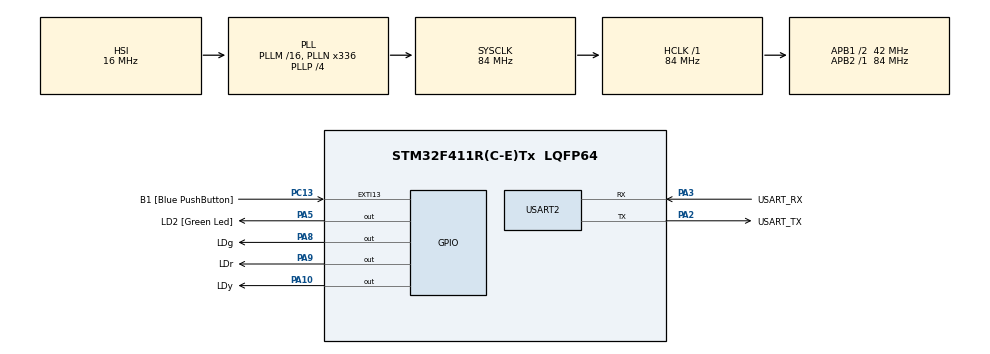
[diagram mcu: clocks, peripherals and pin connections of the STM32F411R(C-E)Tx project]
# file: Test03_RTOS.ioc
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FREERTOS.BinarySemaphores01=myBinarySem01,Dynamic,NULL
FREERTOS.Tasks01=myTask01,-1,128,StartTask01,Default,NULL,Dynamic,NULL,NULL;myTask02,-2,128,StartTask02,Default,NULL,Dynamic,NULL,NULL;myTask03,-3,128,StartTask03,Default,NULL,Dynamic,NULL,NULL
FREERTOS.configUSE_NEWLIB_REENTRANT=1
Mcu.Family=STM32F4
Mcu.Name=STM32F411R(C-E)Tx
Mcu.Package=LQFP64
NVIC.EXTI15_10_IRQn=true\:5\:0\:false\:false\:true\:true\:true\:true\:true
NVIC.PriorityGroup=NVIC_PRIORITYGROUP_4
NVIC.TIM1_TRG_COM_TIM11_IRQn=true\:15\:0\:false\:false\:true\:false\:false\:true\:true
NVIC.TimeBase=TIM1_TRG_COM_TIM11_IRQn
NVIC.TimeBaseIP=TIM11
PA10.GPIO_Label=LDy
PA10.Signal=GPIO_Output
PA13.GPIO_Label=TMS
PA13.Mode=Serial_Wire
PA13.Signal=SYS_JTMS-SWDIO
PA14.GPIO_Label=TCK
PA14.Mode=Serial_Wire
PA14.Signal=SYS_JTCK-SWCLK
PA2.GPIO_Label=USART_TX
PA2.Mode=Asynchronous
PA2.Signal=USART2_TX
PA3.GPIO_Label=USART_RX
PA3.Mode=Asynchronous
PA3.Signal=USART2_RX
PA5.GPIO_Label=LD2 [Green Led]
PA5.Signal=GPIO_Output
PA8.GPIO_Label=LDg
PA8.Signal=GPIO_Output
PA9.GPIO_Label=LDr
PA9.Signal=GPIO_Output
PB3.GPIO_Label=SWO
PB3.Signal=SYS_JTDO-SWO
PC13-ANTI_TAMP.GPIO_Label=B1 [Blue PushButton]
PC13-ANTI_TAMP.GPIO_ModeDefaultEXTI=GPIO_MODE_IT_FALLING
PC13-ANTI_TAMP.Signal=GPXTI13
PC14-OSC32_IN.Mode=LSE-External-Oscillator
PC14-OSC32_IN.Signal=RCC_OSC32_IN
PC15-OSC32_OUT.Mode=LSE-External-Oscillator
PC15-OSC32_OUT.Signal=RCC_OSC32_OUT
PH0\ -\ OSC_IN.Mode=HSE-External-Clock-Source
PH0\ -\ OSC_IN.Signal=RCC_OSC_IN
PH1\ -\ OSC_OUT.Mode=HSE-External-Clock-Source
PH1\ -\ OSC_OUT.Signal=RCC_OSC_OUT
ProjectManager.HeapSize=0x200
ProjectManager.StackSize=0x400
ProjectManager.TargetToolchain=STM32CubeIDE
RCC.48MHZClocksFreq_Value=84000000
RCC.AHBFreq_Value=84000000
RCC.APB1CLKDivider=RCC_HCLK_DIV2
RCC.APB1Freq_Value=42000000
RCC.APB1TimFreq_Value=84000000
RCC.APB2Freq_Value=84000000
RCC.APB2TimFreq_Value=84000000
RCC.CortexFreq_Value=84000000
RCC.FLatency-AdvancedSettings=FLASH_LATENCY_2
RCC.HCLKFreq_Value=84000000
RCC.HSE_VALUE=8000000
RCC.HSI_VALUE=16000000
RCC.PLLN=336
RCC.PLLP=RCC_PLLP_DIV4
RCC.SYSCLKFreq_VALUE=84000000
RCC.SYSCLKSource=RCC_SYSCLKSOURCE_PLLCLK
RCC.VCOOutputFreq_Value=336000000
USART2.VirtualMode=VM_ASYNC
VP_FREERTOS_VS_CMSIS_V1.Mode=CMSIS_V1
VP_SYS_VS_tim11.Mode=TIM11
board=NUCLEO-F411RE

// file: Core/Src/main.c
/* USER CODE BEGIN Header */
/**
  ******************************************************************************
  * @file           : main.c
  * @brief          : Main program body
  ******************************************************************************
  * @attention
  *
  * Copyright (c) 2023 STMicroelectronics.
  * All rights reserved.
  *
  * This software is licensed under terms that can be found in the LICENSE file
  * in the root directory of this software component.
  * If no LICENSE file comes with this software, it is provided AS-IS.
  *
  ******************************************************************************
  */
/* USER CODE END Header */
#include "main.h"
#include "cmsis_os.h"

UART_HandleTypeDef huart2;

osThreadId myTask01Handle;
osThreadId myTask02Handle;
osThreadId myTask03Handle;
osSemaphoreId myBinarySem01Handle;
/* USER CODE BEGIN PV */
#include "../../../myLib/myLib.c"
/* USER CODE END PV */

void SystemClock_Config(void);
static void MX_GPIO_Init(void);
static void MX_USART2_UART_Init(void);
void StartTask01(void const * argument);
void StartTask02(void const * argument);
void StartTask03(void const * argument);

/* USER CODE BEGIN 0 */
void HAL_GPIO_EXTI_Callback(uint16_t GPIO_Pin)
{
	osSemaphoreRelease(myBinarySem01Handle);
}

/* USER CODE END 0 */

int main(void)
{

  /* MCU Configuration--------------------------------------------------------*/

  /* Reset of all peripherals, Initializes the Flash interface and the Systick. */
  HAL_Init();

  /* Configure the system clock */
  SystemClock_Config();

  /* Initialize all configured peripherals */
  MX_GPIO_Init();
  MX_USART2_UART_Init();
  /* USER CODE BEGIN 2 */
  printf("\033[1J\033[1;1HRTOS Test Program Started...\r\n");
  printf("Press B1 button to release Semaphore...\r\n");
  /* USER CODE END 2 */

  /* Create the semaphores(s) */
  /* definition and creation of myBinarySem01 */
  osSemaphoreDef(myBinarySem01);
  myBinarySem01Handle = osSemaphoreCreate(osSemaphore(myBinarySem01), 1);

  /* Create the thread(s) */
  /* definition and creation of myTask01 */
  osThreadDef(myTask01, StartTask01, osPriorityBelowNormal, 0, 128);
  myTask01Handle = osThreadCreate(osThread(myTask01), NULL);

  /* definition and creation of myTask02 */
  osThreadDef(myTask02, StartTask02, osPriorityLow, 0, 128);
  myTask02Handle = osThreadCreate(osThread(myTask02), NULL);

  /* definition and creation of myTask03 */
  osThreadDef(myTask03, StartTask03, osPriorityIdle, 0, 128);
  myTask03Handle = osThreadCreate(osThread(myTask03), NULL);

  /* USER CODE BEGIN RTOS_THREADS */
  while(osSemaphoreWait(myBinarySem01Handle, 0) == osOK);
  /* add threads, ... */
  /* USER CODE END RTOS_THREADS */

  /* Start scheduler */
  osKernelStart();

  /* We should never get here as control is now taken by the scheduler */
  /* Infinite loop */
  /* USER CODE BEGIN WHILE */
  int n=0;
  while (1)
  {
    /* USER CODE END WHILE */

    /* USER CODE BEGIN 3 */
	  printf("in Main procedure......%d\r\n", n++);
	  HAL_GPIO_TogglePin(LDr_GPIO_Port, LDr_Pin);
	  HAL_GPIO_TogglePin(LDg_GPIO_Port, LDg_Pin);
	  HAL_GPIO_TogglePin(LDy_GPIO_Port, LDy_Pin);
	  HAL_Delay(1000);
  }
  /* USER CODE END 3 */
}

void SystemClock_Config(void)
{
  RCC_OscInitTypeDef RCC_OscInitStruct = {0};
  RCC_ClkInitTypeDef RCC_ClkInitStruct = {0};

  /** Configure the main internal regulator output voltage
  */
  __HAL_RCC_PWR_CLK_ENABLE();
  __HAL_PWR_VOLTAGESCALING_CONFIG(PWR_REGULATOR_VOLTAGE_SCALE1);

  /** Initializes the RCC Oscillators according to the specified parameters
  * in the RCC_OscInitTypeDef structure.
  */
  RCC_OscInitStruct.OscillatorType = RCC_OSCILLATORTYPE_HSI;
  RCC_OscInitStruct.HSIState = RCC_HSI_ON;
  RCC_OscInitStruct.HSICalibrationValue = RCC_HSICALIBRATION_DEFAULT;
  RCC_OscInitStruct.PLL.PLLState = RCC_PLL_ON;
  RCC_OscInitStruct.PLL.PLLSource = RCC_PLLSOURCE_HSI;
  RCC_OscInitStruct.PLL.PLLM = 16;
  RCC_OscInitStruct.PLL.PLLN = 336;
  RCC_OscInitStruct.PLL.PLLP = RCC_PLLP_DIV4;
  RCC_OscInitStruct.PLL.PLLQ = 4;
  if (HAL_RCC_OscConfig(&RCC_OscInitStruct) != HAL_OK)
  {
    Error_Handler();
  }

  /** Initializes the CPU, AHB and APB buses clocks
  */
  RCC_ClkInitStruct.ClockType = RCC_CLOCKTYPE_HCLK|RCC_CLOCKTYPE_SYSCLK
                              |RCC_CLOCKTYPE_PCLK1|RCC_CLOCKTYPE_PCLK2;
  RCC_ClkInitStruct.SYSCLKSource = RCC_SYSCLKSOURCE_PLLCLK;
  RCC_ClkInitStruct.AHBCLKDivider = RCC_SYSCLK_DIV1;
  RCC_ClkInitStruct.APB1CLKDivider = RCC_HCLK_DIV2;
  RCC_ClkInitStruct.APB2CLKDivider = RCC_HCLK_DIV1;

  if (HAL_RCC_ClockConfig(&RCC_ClkInitStruct, FLASH_LATENCY_2) != HAL_OK)
  {
    Error_Handler();
  }
}

static void MX_USART2_UART_Init(void)
{

  huart2.Instance = USART2;
  huart2.Init.BaudRate = 115200;
  huart2.Init.WordLength = UART_WORDLENGTH_8B;
  huart2.Init.StopBits = UART_STOPBITS_1;
  huart2.Init.Parity = UART_PARITY_NONE;
  huart2.Init.Mode = UART_MODE_TX_RX;
  huart2.Init.HwFlowCtl = UART_HWCONTROL_NONE;
  huart2.Init.OverSampling = UART_OVERSAMPLING_16;
  if (HAL_UART_Init(&huart2) != HAL_OK)
  {
    Error_Handler();
  }

}

static void MX_GPIO_Init(void)
{
  GPIO_InitTypeDef GPIO_InitStruct = {0};

  /* GPIO Ports Clock Enable */
  __HAL_RCC_GPIOC_CLK_ENABLE();
  __HAL_RCC_GPIOH_CLK_ENABLE();
  __HAL_RCC_GPIOA_CLK_ENABLE();
  __HAL_RCC_GPIOB_CLK_ENABLE();

  /*Configure GPIO pin Output Level */
  HAL_GPIO_WritePin(GPIOA, LD2_Pin|LDg_Pin|LDr_Pin|LDy_Pin, GPIO_PIN_RESET);

  /*Configure GPIO pin : B1_Pin */
  GPIO_InitStruct.Pin = B1_Pin;
  GPIO_InitStruct.Mode = GPIO_MODE_IT_FALLING;
  GPIO_InitStruct.Pull = GPIO_NOPULL;
  HAL_GPIO_Init(B1_GPIO_Port, &GPIO_InitStruct);

  /*Configure GPIO pins : LD2_Pin LDg_Pin LDr_Pin LDy_Pin */
  GPIO_InitStruct.Pin = LD2_Pin|LDg_Pin|LDr_Pin|LDy_Pin;
  GPIO_InitStruct.Mode = GPIO_MODE_OUTPUT_PP;
  GPIO_InitStruct.Pull = GPIO_NOPULL;
  GPIO_InitStruct.Speed = GPIO_SPEED_FREQ_LOW;
  HAL_GPIO_Init(GPIOA, &GPIO_InitStruct);

  /* EXTI interrupt init*/
  HAL_NVIC_SetPriority(EXTI15_10_IRQn, 5, 0);
  HAL_NVIC_EnableIRQ(EXTI15_10_IRQn);

}

void StartTask01(void const * argument)
{
  /* USER CODE BEGIN 5 */
  /* Infinite loop */
  int n=0;
	for(;;)
  {
		if(osSemaphoreWait(myBinarySem01Handle, 10) == osOK)
		{
			printf("\033[4;1Hin default Task......%d   \r\n", n++);
		    HAL_GPIO_TogglePin(LDr_GPIO_Port, LDr_Pin); HAL_Delay(200);
//			HAL_GPIO_WritePin(LDr_GPIO_Port, LDr_Pin,1); HAL_Delay(100);
//			HAL_GPIO_WritePin(LDr_GPIO_Port, LDr_Pin,0); HAL_Delay(100);
			osSemaphoreRelease(myBinarySem01Handle);

		}
	    osDelay(1);//후순위 프로세스를 동작하기 위해서는 반드시 필요. 딜레이가 없으면 후순위 프로레스는 돌아가지 않음.
  }
  /* USER CODE END 5 */
}

void StartTask02(void const * argument)
{
  /* USER CODE BEGIN StartTask02 */
  /* Infinite loop */
	int n=0;
  for(;;) //여기에 while()에 프로그래밍 한것처럼 프로그래밍을 넣어야 작동함.
  {
	  if(osSemaphoreWait(myBinarySem01Handle, 10) == osOK)
	  {
		printf("\033[6;1Hin Task 02......%d   \r\n", n++);
		HAL_GPIO_TogglePin(LDg_GPIO_Port, LDg_Pin); HAL_Delay(200);
//		HAL_GPIO_WritePin(LDg_GPIO_Port, LDg_Pin,1); HAL_Delay(10);
//		HAL_GPIO_WritePin(LDg_GPIO_Port, LDg_Pin,0); HAL_Delay(10);
		osSemaphoreRelease(myBinarySem01Handle);

	  }
	  osDelay(10);
  }
  /* USER CODE END StartTask02 */
}

void StartTask03(void const * argument)
{
  /* USER CODE BEGIN StartTask03 */
  /* Infinite loop */
	int n=0;
  for(;;)
  {
	  if(osSemaphoreWait(myBinarySem01Handle, 10) == osOK)
	  {
		  printf("\033[8;1Hin Task 03......%d   \r\n", n++);
		  HAL_GPIO_TogglePin(LDy_GPIO_Port, LDy_Pin); HAL_Delay(200);
//		  HAL_GPIO_WritePin(LDy_GPIO_Port, LDy_Pin,1); HAL_Delay(10);
//		  HAL_GPIO_WritePin(LDy_GPIO_Port, LDy_Pin,0); HAL_Delay(10);
		  osSemaphoreRelease(myBinarySem01Handle);

	  }
	  osDelay(10);
  }
  /* USER CODE END StartTask03 */
}

void HAL_TIM_PeriodElapsedCallback(TIM_HandleTypeDef *htim)
{
  if (htim->Instance == TIM11) {
    HAL_IncTick();
  }
}

void Error_Handler(void)
{
  __disable_irq();
  while (1)
  {
  }
}
